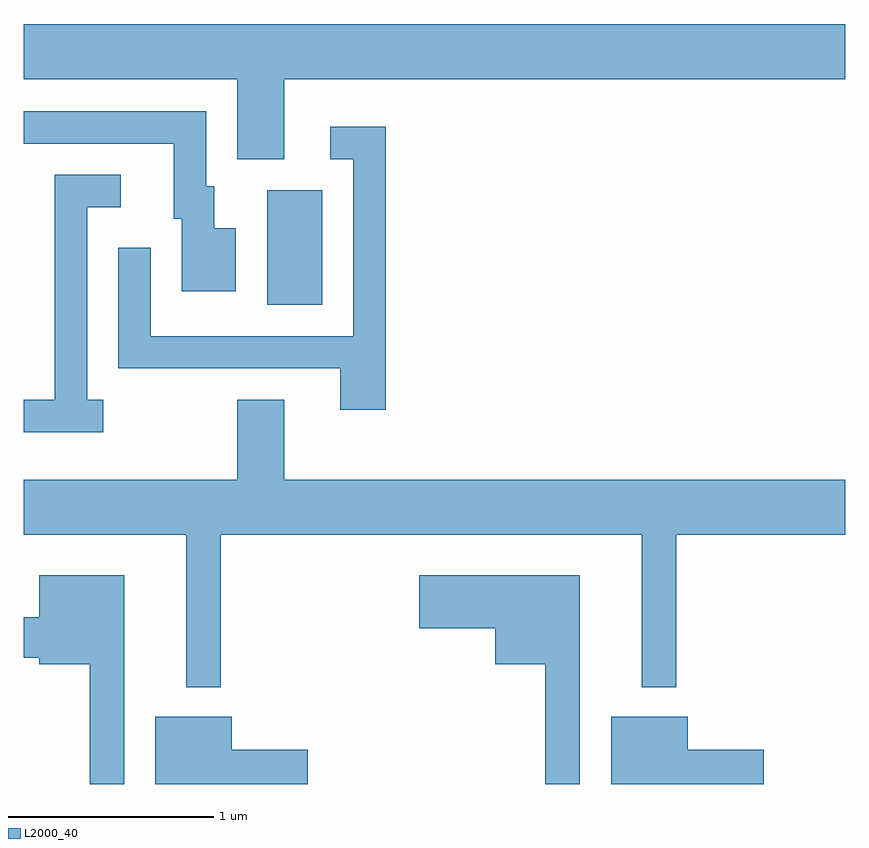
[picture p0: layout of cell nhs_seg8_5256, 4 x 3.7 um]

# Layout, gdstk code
import gdstk
lib = gdstk.Library(unit=1e-6, precision=1e-09)
def R(c, l, rs):  # rectangles x0, y0, x1, y1
    for r in rs: c.add(gdstk.rectangle(r[:2], r[2:], *l))
def P(c, l, *ps):  # polygons
    for p in ps: c.add(gdstk.Polygon(p, *l))
L2000_40 = (2000, 40)

nhs_seg8_5256 = lib.new_cell('nhs_seg8_5256')
R(nhs_seg8_5256, L2000_40, [(344.796,1808.676,345.064,1809.234)])
P(nhs_seg8_5256, L2000_40, [(344.879,1809.776),(347.611,1809.776),(347.611,1810.044),(343.611,1810.044),(343.611,1809.776),(344.651,1809.776),(344.651,1809.386),(344.879,1809.386)],
  [(344.644,1809.049),(344.539,1809.049),(344.539,1809.254),(344.499,1809.254),(344.499,1809.619),(343.611,1809.619),(343.611,1809.461),(344.341,1809.461),(344.341,1809.096),(344.381,1809.096),(344.381,1808.741),(344.644,1808.741)],
  [(345.374,1809.544),(345.103,1809.544),(345.103,1809.386),(345.216,1809.386),(345.216,1808.524),(344.229,1808.524),(344.229,1808.953),(344.071,1808.953),(344.071,1808.366),(345.151,1808.366),(345.151,1808.166),(345.374,1808.166)],
  [(343.998,1808.214),(343.919,1808.214),(343.919,1809.151),(344.083,1809.151),(344.083,1809.309),(343.761,1809.309),(343.761,1808.214),(343.611,1808.214),(343.611,1808.056),(343.998,1808.056)],
  [(344.569,1807.556),(346.621,1807.556),(346.621,1806.813),(346.789,1806.813),(346.789,1807.556),(347.611,1807.556),(347.611,1807.824),(344.879,1807.824),(344.879,1808.214),(344.651,1808.214),(344.651,1807.824),(343.611,1807.824),(343.611,1807.556),(344.401,1807.556),(344.401,1806.813),(344.569,1806.813)],
  [(344.099,1807.359),(343.686,1807.359),(343.686,1807.154),(343.611,1807.154),(343.611,1806.956),(343.686,1806.956),(343.686,1806.926),(343.931,1806.926),(343.931,1806.342),(344.099,1806.342)],
  [(346.319,1807.359),(345.536,1807.359),(345.536,1807.101),(345.906,1807.101),(345.906,1806.926),(346.151,1806.926),(346.151,1806.342),(346.319,1806.342)],
  [(344.994,1806.509),(344.624,1806.509),(344.624,1806.669),(344.251,1806.669),(344.251,1806.342),(344.994,1806.342)],
  [(347.214,1806.509),(346.844,1806.509),(346.844,1806.669),(346.471,1806.669),(346.471,1806.342),(347.214,1806.342)])

lib.write_gds('nhs_seg8_5256.gds')
